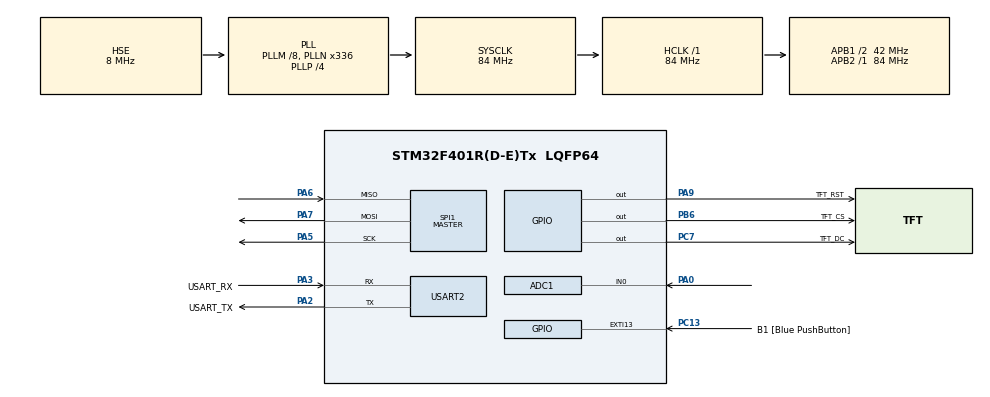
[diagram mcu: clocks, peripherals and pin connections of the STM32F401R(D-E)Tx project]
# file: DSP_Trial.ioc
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ADC1.Channel-1\#ChannelRegularConversion=ADC_CHANNEL_0
ADC1.DMAContinuousRequests=ENABLE
ADC1.ExternalTrigConv=ADC_EXTERNALTRIGCONV_T2_TRGO
ADC1.NbrOfConversionFlag=1
ADC1.Rank-1\#ChannelRegularConversion=1
ADC1.SamplingTime-1\#ChannelRegularConversion=ADC_SAMPLETIME_3CYCLES
ADC1.master=1
Dma.ADC1.0.Direction=DMA_PERIPH_TO_MEMORY
Dma.ADC1.0.FIFOMode=DMA_FIFOMODE_DISABLE
Dma.ADC1.0.Instance=DMA2_Stream0
Dma.ADC1.0.MemDataAlignment=DMA_MDATAALIGN_HALFWORD
Dma.ADC1.0.MemInc=DMA_MINC_ENABLE
Dma.ADC1.0.Mode=DMA_CIRCULAR
Dma.ADC1.0.PeriphDataAlignment=DMA_PDATAALIGN_HALFWORD
Dma.ADC1.0.PeriphInc=DMA_PINC_DISABLE
Dma.ADC1.0.Priority=DMA_PRIORITY_LOW
Dma.Request0=ADC1
Dma.Request1=SPI1_TX
Dma.SPI1_TX.1.Direction=DMA_MEMORY_TO_PERIPH
Dma.SPI1_TX.1.FIFOMode=DMA_FIFOMODE_DISABLE
Dma.SPI1_TX.1.Instance=DMA2_Stream3
Dma.SPI1_TX.1.MemDataAlignment=DMA_MDATAALIGN_BYTE
Dma.SPI1_TX.1.MemInc=DMA_MINC_ENABLE
Dma.SPI1_TX.1.Mode=DMA_NORMAL
Dma.SPI1_TX.1.PeriphDataAlignment=DMA_PDATAALIGN_BYTE
Dma.SPI1_TX.1.PeriphInc=DMA_PINC_DISABLE
Dma.SPI1_TX.1.Priority=DMA_PRIORITY_LOW
Mcu.Family=STM32F4
Mcu.Name=STM32F401R(D-E)Tx
Mcu.Package=LQFP64
NVIC.DMA2_Stream0_IRQn=true\:0\:0\:false\:false\:true\:false\:true\:true
NVIC.DMA2_Stream3_IRQn=true\:0\:0\:false\:false\:true\:false\:true\:true
NVIC.PriorityGroup=NVIC_PRIORITYGROUP_4
NVIC.SPI1_IRQn=true\:0\:0\:false\:false\:true\:true\:true\:true
PA0-WKUP.Signal=ADCx_IN0
PA13.GPIO_Label=TMS
PA13.Mode=Trace_Asynchronous_SW
PA13.Signal=SYS_JTMS-SWDIO
PA14.GPIO_Label=TCK
PA14.Mode=Trace_Asynchronous_SW
PA14.Signal=SYS_JTCK-SWCLK
PA2.GPIO_Label=USART_TX
PA2.GPIO_Mode=GPIO_MODE_AF_PP
PA2.GPIO_PuPd=GPIO_NOPULL
PA2.GPIO_Speed=GPIO_SPEED_FREQ_LOW
PA2.Mode=Asynchronous
PA2.Signal=USART2_TX
PA3.GPIO_Label=USART_RX
PA3.GPIO_Mode=GPIO_MODE_AF_PP
PA3.GPIO_PuPd=GPIO_NOPULL
PA3.GPIO_Speed=GPIO_SPEED_FREQ_LOW
PA3.Mode=Asynchronous
PA3.Signal=USART2_RX
PA5.Mode=Full_Duplex_Master
PA5.Signal=SPI1_SCK
PA6.Mode=Full_Duplex_Master
PA6.Signal=SPI1_MISO
PA7.Mode=Full_Duplex_Master
PA7.Signal=SPI1_MOSI
PA9.GPIO_Label=TFT_RST
PA9.PinState=GPIO_PIN_SET
PA9.Signal=GPIO_Output
PB3.GPIO_Label=SWO
PB3.Mode=Trace_Asynchronous_SW
PB3.Signal=SYS_JTDO-SWO
PB6.GPIO_Label=TFT_CS
PB6.PinState=GPIO_PIN_SET
PB6.Signal=GPIO_Output
PC13-ANTI_TAMP.GPIO_Label=B1 [Blue PushButton]
PC13-ANTI_TAMP.GPIO_ModeDefaultEXTI=GPIO_MODE_IT_FALLING
PC13-ANTI_TAMP.GPIO_PuPd=GPIO_NOPULL
PC13-ANTI_TAMP.Signal=GPXTI13
PC14-OSC32_IN.Mode=LSE-External-Oscillator
PC14-OSC32_IN.Signal=RCC_OSC32_IN
PC15-OSC32_OUT.Mode=LSE-External-Oscillator
PC15-OSC32_OUT.Signal=RCC_OSC32_OUT
PC7.GPIO_Label=TFT_DC
PC7.Signal=GPIO_Output
PH0\ -\ OSC_IN.Mode=HSE-External-Clock-Source
PH0\ -\ OSC_IN.Signal=RCC_OSC_IN
PH1\ -\ OSC_OUT.Mode=HSE-External-Clock-Source
PH1\ -\ OSC_OUT.Signal=RCC_OSC_OUT
ProjectManager.HeapSize=0x200
ProjectManager.StackSize=0x400
ProjectManager.TargetToolchain=STM32CubeIDE
RCC.48MHZClocksFreq_Value=48000000
RCC.AHBFreq_Value=84000000
RCC.APB1CLKDivider=RCC_HCLK_DIV2
RCC.APB1Freq_Value=42000000
RCC.APB1TimFreq_Value=84000000
RCC.APB2Freq_Value=84000000
RCC.APB2TimFreq_Value=84000000
RCC.CortexFreq_Value=84000000
RCC.HCLKFreq_Value=84000000
RCC.HSE_VALUE=8000000
RCC.HSI_VALUE=16000000
RCC.PLLM=8
RCC.PLLN=336
RCC.PLLP=RCC_PLLP_DIV4
RCC.PLLQ=7
RCC.PLLSourceVirtual=RCC_PLLSOURCE_HSE
RCC.SYSCLKFreq_VALUE=84000000
RCC.SYSCLKSource=RCC_SYSCLKSOURCE_PLLCLK
RCC.VCOOutputFreq_Value=336000000
SH.ADCx_IN0.0=ADC1_IN0,IN0
SPI1.BaudRatePrescaler=SPI_BAUDRATEPRESCALER_4
SPI1.Direction=SPI_DIRECTION_2LINES
SPI1.Mode=SPI_MODE_MASTER
SPI1.VirtualType=VM_MASTER
TIM2.Period=20999
TIM2.TIM_MasterOutputTrigger=TIM_TRGO_UPDATE
USART2.VirtualMode=VM_ASYNC
VP_TIM2_VS_ClockSourceINT.Mode=Internal
board=NUCLEO-F401RE

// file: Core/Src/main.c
/* USER CODE BEGIN Header */
/**
  ******************************************************************************
  * @file           : main.c
  * @brief          : Main program body
  ******************************************************************************
  * @attention
  *
  * Copyright (c) 2026 STMicroelectronics.
  * All rights reserved.
  *
  * This software is licensed under terms that can be found in the LICENSE file
  * in the root directory of this software component.
  * If no LICENSE file comes with this software, it is provided AS-IS.
  *
  ******************************************************************************
  */
/* USER CODE END Header */
#include "main.h"

/* USER CODE BEGIN Includes */
#include "main.h"

#include <math.h>
#include <stdio.h>
#include <string.h>

#include "arm_math.h"
#include "arm_const_structs.h"
#include "ili9341.h"
#include "ili9341_gfx.h"
#include "ili9341_font.h"
/* USER CODE END Includes */

ADC_HandleTypeDef hadc1;
DMA_HandleTypeDef hdma_adc1;

SPI_HandleTypeDef hspi1;
DMA_HandleTypeDef hdma_spi1_tx;

TIM_HandleTypeDef htim2;

UART_HandleTypeDef huart2;

/* USER CODE BEGIN PV */

#define FFT_BUFFER_SIZE 1024
#define SAMPLE_RATE 4023
#define HARMONIC_THRESHOLD 45 //percent
#define LOW_PASS 0.65f	//get 80% new note
#define MIN_SIGNAL_AMPLITUDE 10000.0f //threshold for pluck

arm_rfft_fast_instance_f32 fftHandler;
uint16_t adc_buffer[FFT_BUFFER_SIZE*2];
float32_t fftBufIn[FFT_BUFFER_SIZE];
float32_t fftBufOut[FFT_BUFFER_SIZE];
float32_t magnitudes[FFT_BUFFER_SIZE / 2];

volatile uint8_t data_ready_flag = 0;

uint8_t fftFlag = 0;

//LUT
typedef struct{
	float32_t expected_frequency;
	const char* note_name;
}GuitarNote;

const GuitarNote note_table[] = {
	{82.41f,   "E2"},{87.31f,   "F2"},{92.50f,   "F#2"},{98.00f,   "G2"},{103.83f,  "G#2"},
	{110.00f,  "A2"},{116.54f,  "A#2"},{123.47f,  "B2"},{130.81f,  "C3"},{138.59f,  "C#3"},
	{146.83f,  "D3"},{155.56f,  "D#3"},{164.81f,  "E3"},{174.61f,  "F3"},{185.00f,  "F#3"},
	{196.00f,  "G3"},{207.65f,  "G#3"},{220.00f,  "A3"},{233.08f,  "A#3"},{246.94f,  "B3"},
	{261.63f,  "C4"},{277.18f,  "C#4"},{293.66f,  "D4"},{311.13f,  "D#4"},{329.63f,  "E4"},
	{349.23f,  "F4"},{369.99f,  "F#4"},{392.00f,  "G4"},{415.30f,  "G#4"},{440.00f,  "A4"},
	{466.16f,  "A#4"},{493.88f,  "B4"},{523.25f,  "C5"},{554.37f,  "C#5"},{587.33f,  "D5"},
	{622.25f,  "D#5"},{659.26f,  "E5"},{698.46f,  "F5"},{739.99f,  "F#5"},{783.99f,  "G5"},
	{830.61f,  "G#5"},{880.00f,  "A5"},{932.33f,  "A#5"},{987.77f,  "B5"},{1046.50f, "C6"},
	{1108.73f, "C#6"},{1174.66f, "D6"},{1244.51f, "D#6"},{1318.51f, "E6"}
};

/* USER CODE END PV */

void SystemClock_Config(void);
static void MX_GPIO_Init(void);
static void MX_DMA_Init(void);
static void MX_USART2_UART_Init(void);
static void MX_ADC1_Init(void);
static void MX_TIM2_Init(void);
static void MX_SPI1_Init(void);

/* USER CODE BEGIN 0 */

int16_t get_indicator_x(float detected_freq, float target_freq)
{
    float cents_off = 1200.0f * log2f(detected_freq / target_freq);
    //so indicator stays on bar
    if (cents_off >  45.0f) cents_off =  45.0f;
    if (cents_off < -45.0f) cents_off = -45.0f;
    int16_t x = (int16_t)(155.0f + (cents_off / 50.0f) * 135.0f);
    return x;
}

//get a more precise frequency estimate
float parabolic_interpolate(float32_t *magnitudes, uint32_t peak_index)
{
    if (peak_index < 1 || peak_index >= (FFT_BUFFER_SIZE / 2) - 1)
        return (float)peak_index;

    float left   = magnitudes[peak_index - 1];
    float center = magnitudes[peak_index];
    float right  = magnitudes[peak_index + 1];

    float offset = 0.5f * (left - right) / (left - 2.0f * center + right);

    return (float)peak_index + offset;
}
/* USER CODE END 0 */

int main(void)
{

	/* MCU Configuration--------------------------------------------------------*/

	/* Reset of all peripherals, Initializes the Flash interface and the Systick. */
	HAL_Init();

	/* Configure the system clock */
	SystemClock_Config();

	/* Initialize all configured peripherals */
	MX_GPIO_Init();
	MX_DMA_Init();
	MX_USART2_UART_Init();
	MX_ADC1_Init();
	MX_TIM2_Init();
	MX_SPI1_Init();
	/* USER CODE BEGIN 2 */

	ili9341_t *lcd = ili9341_new(
		 &hspi1,
		 TFT_RST_GPIO_Port, TFT_RST_Pin,
		 TFT_CS_GPIO_Port, TFT_CS_Pin,
		 TFT_DC_GPIO_Port, TFT_DC_Pin,
		 isoLandscape,
		 NULL, 0,
		 NULL, 0,
		 itsNotSupported,
		 itnNotNormalized
	 );

    ili9341_text_attr_t note;
    note.font = &ili9341_font_16x26;
    note.fg_color = ILI9341_WHITE;
    note.bg_color = ILI9341_DARKGREY;
    note.origin_x = 139;
    note.origin_y = 137;

	ili9341_spi_write_command(lcd, issDisplayTFT, 0x11);//wake up
	ili9341_spi_write_command(lcd, issDisplayTFT, 0x29);// Display on

	ili9341_fill_screen(lcd, ILI9341_BLACK);

	//tuner bar
	ili9341_fill_rect(lcd, ILI9341_RED,    20,  20, 55, 30);  // far left red
	ili9341_fill_rect(lcd, ILI9341_YELLOW, 75,  20, 60, 30);  // left yellow
	ili9341_fill_rect(lcd, ILI9341_GREEN,  130, 20, 70, 30);  // center green
	ili9341_fill_rect(lcd, ILI9341_YELLOW, 185, 20, 65, 30);  // right yellow
	ili9341_fill_rect(lcd, ILI9341_RED,    245, 20, 55, 30);  // far right red

	//note display
	ili9341_fill_circle(lcd, ILI9341_DARKGREY, 155, 150, 40);
	ili9341_draw_string(lcd, note, "A4");

	//sharp/flat
	note.bg_color = ILI9341_BLACK;
	note.origin_x = 3;
	note.origin_y = 23;
	ili9341_draw_string(lcd, note, "b");
	note.origin_x = 300;
	note.origin_y = 23;
	ili9341_draw_string(lcd, note, "#");
	ili9341_fill_rect(lcd, ILI9341_WHITE, 152, 20, 6, 30);

	note.bg_color = ILI9341_DARKGREY;
	note.origin_x = 139;
	note.origin_y = 137;

    //Initialize FFT
    arm_rfft_fast_init_f32(&fftHandler, FFT_BUFFER_SIZE);

    HAL_TIM_Base_Start(&htim2);

    HAL_ADC_Start_DMA(&hadc1, (uint32_t*)adc_buffer, FFT_BUFFER_SIZE*2);

    float32_t max_amplitude;
    uint32_t peak_index;
    float calculated_frequency;
    float smoothed_frequency = 0.0f;

	/* USER CODE END 2 */

	/* Infinite loop */
	/* USER CODE BEGIN WHILE */
	/* Infinite loop */
    /* USER CODE BEGIN WHILE */
    while (1)
    {
        if (data_ready_flag != 0)
        {
        	uint16_t *process_buffer;
        	if(data_ready_flag == 1){
        		process_buffer = &adc_buffer[0];
        	}
        	else{
        		process_buffer = &adc_buffer[FFT_BUFFER_SIZE];
        	}

			data_ready_flag = 0;

			//copy from the correct half of buffer
			for (int i = 0; i < FFT_BUFFER_SIZE; i++)
			{
				fftBufIn[i] = (float)process_buffer[i];
			}

            //Remove DC offset
            float mean = 0.0f;
            for(int i = 0; i < FFT_BUFFER_SIZE; i++)
            {
                mean += fftBufIn[i];
            }
            mean /= FFT_BUFFER_SIZE;

            for(int i = 0; i < FFT_BUFFER_SIZE; i++)
            {
                fftBufIn[i] -= mean;
            }

            //Execute Real FFT
            arm_rfft_fast_f32(&fftHandler, fftBufIn, fftBufOut, fftFlag);

            magnitudes[0] = fabsf(fftBufOut[0]); // DC Magnitude

            arm_cmplx_mag_f32(&fftBufOut[2], &magnitudes[1], (FFT_BUFFER_SIZE / 2) - 1);
            arm_max_f32(&magnitudes[1], (FFT_BUFFER_SIZE / 2) - 1, &max_amplitude, &peak_index);

            peak_index += 1;

            if(max_amplitude > MIN_SIGNAL_AMPLITUDE){

				//filtering out harmonics
            	uint32_t fundamental_index = peak_index;
				for(int i = 21; i < peak_index; i++){
					//if amplitude is greater then threshold (filter out background noise
					if(max_amplitude * .3 <= magnitudes[i]){
						fundamental_index = i;
						if(i != FFT_BUFFER_SIZE-1){
							if((magnitudes[i] > magnitudes[i+1]) && (magnitudes[i] > magnitudes[i - 1])){
								fundamental_index = i;
								break;
							}
						}
					}
				}
				float true_index = parabolic_interpolate(magnitudes, fundamental_index);
				float raw_frequency = true_index * ((float)SAMPLE_RATE / (float)FFT_BUFFER_SIZE);
				if (smoothed_frequency == 0.0f)
					smoothed_frequency = raw_frequency;
				else
					smoothed_frequency = LOW_PASS * raw_frequency + (1.0f - LOW_PASS) * smoothed_frequency;

				calculated_frequency = smoothed_frequency;

				float current_max_diff = 1000000;
				const char* closest_note = "N/A";
				float target_freq = 0.0f;
				for(int i = 0; i < (sizeof(note_table)/sizeof(note_table[0])); i++){
					float diff = fabsf(calculated_frequency - note_table[i].expected_frequency);

					if(diff < current_max_diff){
						current_max_diff = diff;
						closest_note = note_table[i].note_name;
						target_freq = note_table[i].expected_frequency;
					}
				}

				static int16_t prev_ind_x = 155;  // starts centered

				ili9341_color_t erase_color;
				if      (prev_ind_x < 75)  erase_color = ILI9341_RED;
				else if (prev_ind_x < 130) erase_color = ILI9341_YELLOW;
				else if (prev_ind_x < 200) erase_color = ILI9341_GREEN;
				else if (prev_ind_x < 245) erase_color = ILI9341_YELLOW;
				else                        erase_color = ILI9341_RED;

				ili9341_fill_rect(lcd, erase_color, prev_ind_x - 3, 20, 6, 30);

				// draw new indicator
				int16_t ind_x = get_indicator_x(calculated_frequency, target_freq);
				ili9341_fill_rect(lcd, ILI9341_WHITE, ind_x - 3, 20, 6, 30);

				prev_ind_x = ind_x;

				// update note display
				ili9341_fill_circle(lcd, ILI9341_DARKGREY, 155, 150, 40);
				ili9341_draw_string(lcd, note, closest_note);

				char msg[32];
				sprintf(msg, "Freq: %.1f Hz | Note: %s\r\n | ", calculated_frequency,closest_note);
				HAL_UART_Transmit(&huart2, (uint8_t*)msg, strlen(msg), 100);

				char dbg[32];
				sprintf(dbg, "Amp: %.0f\r\n", max_amplitude);
				HAL_UART_Transmit(&huart2, (uint8_t*)dbg, strlen(dbg), 100);
            }
            else{
            	smoothed_frequency = 0.0f;
            }
        }
    }
    /* USER CODE END WHILE */

}

void SystemClock_Config(void)
{
  RCC_OscInitTypeDef RCC_OscInitStruct = {0};
  RCC_ClkInitTypeDef RCC_ClkInitStruct = {0};

  /** Configure the main internal regulator output voltage
  */
  __HAL_RCC_PWR_CLK_ENABLE();
  __HAL_PWR_VOLTAGESCALING_CONFIG(PWR_REGULATOR_VOLTAGE_SCALE2);

  /** Initializes the RCC Oscillators according to the specified parameters
  * in the RCC_OscInitTypeDef structure.
  */
  RCC_OscInitStruct.OscillatorType = RCC_OSCILLATORTYPE_HSE;
  RCC_OscInitStruct.HSEState = RCC_HSE_BYPASS;
  RCC_OscInitStruct.PLL.PLLState = RCC_PLL_ON;
  RCC_OscInitStruct.PLL.PLLSource = RCC_PLLSOURCE_HSE;
  RCC_OscInitStruct.PLL.PLLM = 8;
  RCC_OscInitStruct.PLL.PLLN = 336;
  RCC_OscInitStruct.PLL.PLLP = RCC_PLLP_DIV4;
  RCC_OscInitStruct.PLL.PLLQ = 7;
  if (HAL_RCC_OscConfig(&RCC_OscInitStruct) != HAL_OK)
  {
    Error_Handler();
  }

  /** Initializes the CPU, AHB and APB buses clocks
  */
  RCC_ClkInitStruct.ClockType = RCC_CLOCKTYPE_HCLK|RCC_CLOCKTYPE_SYSCLK
                              |RCC_CLOCKTYPE_PCLK1|RCC_CLOCKTYPE_PCLK2;
  RCC_ClkInitStruct.SYSCLKSource = RCC_SYSCLKSOURCE_PLLCLK;
  RCC_ClkInitStruct.AHBCLKDivider = RCC_SYSCLK_DIV1;
  RCC_ClkInitStruct.APB1CLKDivider = RCC_HCLK_DIV2;
  RCC_ClkInitStruct.APB2CLKDivider = RCC_HCLK_DIV1;

  if (HAL_RCC_ClockConfig(&RCC_ClkInitStruct, FLASH_LATENCY_2) != HAL_OK)
  {
    Error_Handler();
  }
}

static void MX_ADC1_Init(void)
{

  ADC_ChannelConfTypeDef sConfig = {0};

  /** Configure the global features of the ADC (Clock, Resolution, Data Alignment and number of conversion)
  */
  hadc1.Instance = ADC1;
  hadc1.Init.ClockPrescaler = ADC_CLOCK_SYNC_PCLK_DIV4;
  hadc1.Init.Resolution = ADC_RESOLUTION_12B;
  hadc1.Init.ScanConvMode = DISABLE;
  hadc1.Init.ContinuousConvMode = DISABLE;
  hadc1.Init.DiscontinuousConvMode = DISABLE;
  hadc1.Init.ExternalTrigConvEdge = ADC_EXTERNALTRIGCONVEDGE_RISING;
  hadc1.Init.ExternalTrigConv = ADC_EXTERNALTRIGCONV_T2_TRGO;
  hadc1.Init.DataAlign = ADC_DATAALIGN_RIGHT;
  hadc1.Init.NbrOfConversion = 1;
  hadc1.Init.DMAContinuousRequests = ENABLE;
  hadc1.Init.EOCSelection = ADC_EOC_SINGLE_CONV;
  if (HAL_ADC_Init(&hadc1) != HAL_OK)
  {
    Error_Handler();
  }

  /** Configure for the selected ADC regular channel its corresponding rank in the sequencer and its sample time.
  */
  sConfig.Channel = ADC_CHANNEL_0;
  sConfig.Rank = 1;
  sConfig.SamplingTime = ADC_SAMPLETIME_3CYCLES;
  if (HAL_ADC_ConfigChannel(&hadc1, &sConfig) != HAL_OK)
  {
    Error_Handler();
  }

}

static void MX_SPI1_Init(void)
{

  /* SPI1 parameter configuration*/
  hspi1.Instance = SPI1;
  hspi1.Init.Mode = SPI_MODE_MASTER;
  hspi1.Init.Direction = SPI_DIRECTION_2LINES;
  hspi1.Init.DataSize = SPI_DATASIZE_8BIT;
  hspi1.Init.CLKPolarity = SPI_POLARITY_LOW;
  hspi1.Init.CLKPhase = SPI_PHASE_1EDGE;
  hspi1.Init.NSS = SPI_NSS_SOFT;
  hspi1.Init.BaudRatePrescaler = SPI_BAUDRATEPRESCALER_4;
  hspi1.Init.FirstBit = SPI_FIRSTBIT_MSB;
  hspi1.Init.TIMode = SPI_TIMODE_DISABLE;
  hspi1.Init.CRCCalculation = SPI_CRCCALCULATION_DISABLE;
  hspi1.Init.CRCPolynomial = 10;
  if (HAL_SPI_Init(&hspi1) != HAL_OK)
  {
    Error_Handler();
  }

}

static void MX_TIM2_Init(void)
{

  TIM_ClockConfigTypeDef sClockSourceConfig = {0};
  TIM_MasterConfigTypeDef sMasterConfig = {0};

  htim2.Instance = TIM2;
  htim2.Init.Prescaler = 0;
  htim2.Init.CounterMode = TIM_COUNTERMODE_UP;
  htim2.Init.Period = 20999;
  htim2.Init.ClockDivision = TIM_CLOCKDIVISION_DIV1;
  htim2.Init.AutoReloadPreload = TIM_AUTORELOAD_PRELOAD_DISABLE;
  if (HAL_TIM_Base_Init(&htim2) != HAL_OK)
  {
    Error_Handler();
  }
  sClockSourceConfig.ClockSource = TIM_CLOCKSOURCE_INTERNAL;
  if (HAL_TIM_ConfigClockSource(&htim2, &sClockSourceConfig) != HAL_OK)
  {
    Error_Handler();
  }
  sMasterConfig.MasterOutputTrigger = TIM_TRGO_UPDATE;
  sMasterConfig.MasterSlaveMode = TIM_MASTERSLAVEMODE_DISABLE;
  if (HAL_TIMEx_MasterConfigSynchronization(&htim2, &sMasterConfig) != HAL_OK)
  {
    Error_Handler();
  }

}

static void MX_USART2_UART_Init(void)
{

  huart2.Instance = USART2;
  huart2.Init.BaudRate = 115200;
  huart2.Init.WordLength = UART_WORDLENGTH_8B;
  huart2.Init.StopBits = UART_STOPBITS_1;
  huart2.Init.Parity = UART_PARITY_NONE;
  huart2.Init.Mode = UART_MODE_TX_RX;
  huart2.Init.HwFlowCtl = UART_HWCONTROL_NONE;
  huart2.Init.OverSampling = UART_OVERSAMPLING_16;
  if (HAL_UART_Init(&huart2) != HAL_OK)
  {
    Error_Handler();
  }

}

static void MX_DMA_Init(void)
{

  /* DMA controller clock enable */
  __HAL_RCC_DMA2_CLK_ENABLE();

  /* DMA interrupt init */
  /* DMA2_Stream0_IRQn interrupt configuration */
  HAL_NVIC_SetPriority(DMA2_Stream0_IRQn, 0, 0);
  HAL_NVIC_EnableIRQ(DMA2_Stream0_IRQn);
  /* DMA2_Stream3_IRQn interrupt configuration */
  HAL_NVIC_SetPriority(DMA2_Stream3_IRQn, 0, 0);
  HAL_NVIC_EnableIRQ(DMA2_Stream3_IRQn);

}

static void MX_GPIO_Init(void)
{
  GPIO_InitTypeDef GPIO_InitStruct = {0};

  /* GPIO Ports Clock Enable */
  __HAL_RCC_GPIOC_CLK_ENABLE();
  __HAL_RCC_GPIOH_CLK_ENABLE();
  __HAL_RCC_GPIOA_CLK_ENABLE();
  __HAL_RCC_GPIOB_CLK_ENABLE();

  /*Configure GPIO pin Output Level */
  HAL_GPIO_WritePin(TFT_DC_GPIO_Port, TFT_DC_Pin, GPIO_PIN_RESET);

  /*Configure GPIO pin Output Level */
  HAL_GPIO_WritePin(TFT_RST_GPIO_Port, TFT_RST_Pin, GPIO_PIN_SET);

  /*Configure GPIO pin Output Level */
  HAL_GPIO_WritePin(TFT_CS_GPIO_Port, TFT_CS_Pin, GPIO_PIN_SET);

  /*Configure GPIO pin : B1_Pin */
  GPIO_InitStruct.Pin = B1_Pin;
  GPIO_InitStruct.Mode = GPIO_MODE_IT_FALLING;
  GPIO_InitStruct.Pull = GPIO_NOPULL;
  HAL_GPIO_Init(B1_GPIO_Port, &GPIO_InitStruct);

  /*Configure GPIO pin : TFT_DC_Pin */
  GPIO_InitStruct.Pin = TFT_DC_Pin;
  GPIO_InitStruct.Mode = GPIO_MODE_OUTPUT_PP;
  GPIO_InitStruct.Pull = GPIO_NOPULL;
  GPIO_InitStruct.Speed = GPIO_SPEED_FREQ_LOW;
  HAL_GPIO_Init(TFT_DC_GPIO_Port, &GPIO_InitStruct);

  /*Configure GPIO pin : TFT_RST_Pin */
  GPIO_InitStruct.Pin = TFT_RST_Pin;
  GPIO_InitStruct.Mode = GPIO_MODE_OUTPUT_PP;
  GPIO_InitStruct.Pull = GPIO_NOPULL;
  GPIO_InitStruct.Speed = GPIO_SPEED_FREQ_LOW;
  HAL_GPIO_Init(TFT_RST_GPIO_Port, &GPIO_InitStruct);

  /*Configure GPIO pin : TFT_CS_Pin */
  GPIO_InitStruct.Pin = TFT_CS_Pin;
  GPIO_InitStruct.Mode = GPIO_MODE_OUTPUT_PP;
  GPIO_InitStruct.Pull = GPIO_NOPULL;
  GPIO_InitStruct.Speed = GPIO_SPEED_FREQ_LOW;
  HAL_GPIO_Init(TFT_CS_GPIO_Port, &GPIO_InitStruct);

}

/* USER CODE BEGIN 4 */
void HAL_ADC_ConvHalfCpltCallback(ADC_HandleTypeDef* hadc) {
    if (hadc->Instance == ADC1) {
        data_ready_flag = 1;
    }
}
void HAL_ADC_ConvCpltCallback(ADC_HandleTypeDef* hadc) {
    if (hadc->Instance == ADC1) {
        data_ready_flag = 2;
    }
}
/* USER CODE END 4 */

void Error_Handler(void)
{
  __disable_irq();
  while (1)
  {
  }
}
